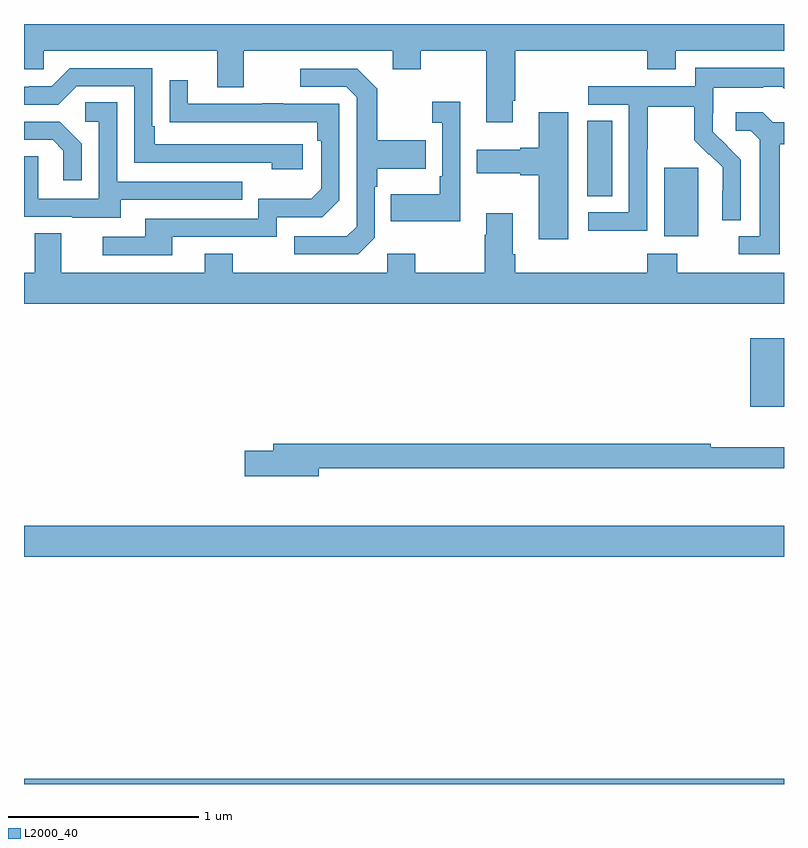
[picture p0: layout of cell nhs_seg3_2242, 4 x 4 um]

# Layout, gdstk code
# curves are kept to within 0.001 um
import gdstk
lib = gdstk.Library(unit=1e-6, precision=1e-09)
def R(c, l, rs):  # rectangles x0, y0, x1, y1
    for r in rs: c.add(gdstk.rectangle(r[:2], r[2:], *l))
def P(c, l, *ps):  # polygons
    for p in ps: c.add(gdstk.Polygon(p, *l))
L2000_40 = (2000, 40)

nhs_seg3_2242 = lib.new_cell('nhs_seg3_2242')
R(nhs_seg3_2242, L2000_40, [(227,686.4,231,686.428), (227,687.596,231,687.76), (230.822,688.386,231,688.747), (230.369,689.282,230.548,689.643), (229.964,689.494,230.095,689.891)])
P(nhs_seg3_2242, L2000_40, [(229.573,689.995),(229.586,689.995),(229.586,690.26),(230.279,690.26),(230.279,690.161),(230.431,690.161),(230.431,690.26),(231,690.26),(231,690.4),(227,690.4),(227,690.162),(227.103,690.162),(227.103,690.26),(228.017,690.26),(228.017,690.066),(228.157,690.066),(228.157,690.26),(228.941,690.26),(228.941,690.161),(229.089,690.161),(229.089,690.26),(229.433,690.26),(229.433,689.883),(229.573,689.883)],
  [(230.28,689.74),(230.283,689.74),(230.283,689.964),(230.527,689.964),(230.527,689.789),(230.604,689.712),(230.607,689.715),(230.678,689.645),(230.678,689.522),(230.676,689.522),(230.676,689.368),(230.772,689.368),(230.772,689.686),(230.626,689.834),(230.626,689.931),(230.628,689.931),(230.628,690.065),(230.891,690.065),(230.891,690.069),(230.991,690.069),(231,690.06),(231,690.169),(230.532,690.169),(230.532,690.072),(229.971,690.072),(229.971,689.976),(230.184,689.976),(230.184,689.409),(229.971,689.409),(229.971,689.311),(230.28,689.311)],
  [(228.466,689.766),(227.689,689.766),(227.689,689.863),(227.676,689.863),(227.676,690.168),(227.241,690.168),(227.145,690.072),(227.027,690.072),(227.027,690.069),(227,690.069),(227,689.976),(227.181,689.976),(227.277,690.072),(227.58,690.072),(227.58,689.67),(228.305,689.67),(228.305,689.636),(228.466,689.636)],
  [(228.846,689.274),(228.846,689.543),(228.859,689.543),(228.859,689.639),(229.115,689.639),(229.115,689.787),(228.859,689.787),(228.859,690.059),(228.753,690.165),(228.453,690.165),(228.453,690.069),(228.696,690.069),(228.75,690.015),(228.75,689.334),(228.699,689.283),(228.423,689.283),(228.423,689.187),(228.759,689.187)],
  [(227.779,689.28),(228.33,689.28),(228.33,689.382),(228.57,689.382),(228.66,689.472),(228.66,689.979),(228.365,689.979),(228.365,689.984),(228.253,689.984),(228.253,689.979),(227.863,689.979),(227.863,690.103),(227.767,690.103),(227.767,689.884),(228.544,689.883),(228.544,689.786),(228.564,689.786),(228.564,689.532),(228.511,689.479),(228.234,689.479),(228.234,689.376),(227.639,689.376),(227.639,689.28),(227.415,689.28),(227.415,689.184),(227.779,689.184)],
  [(229.296,689.992),(229.149,689.992),(229.149,689.879),(229.2,689.879),(229.2,689.599),(229.188,689.599),(229.188,689.503),(228.931,689.503),(228.931,689.363),(229.296,689.363)],
  [(227.509,689.475),(228.149,689.475),(228.149,689.571),(227.49,689.571),(227.49,689.987),(227.322,689.987),(227.322,689.886),(227.394,689.886),(227.394,689.481),(227.076,689.481),(227.076,689.705),(227,689.705),(227,689.385),(227.255,689.385),(227.255,689.381),(227.509,689.381)],
  [(229.864,689.935),(229.709,689.935),(229.709,689.75),(229.613,689.75),(229.613,689.737),(229.383,689.737),(229.383,689.615),(229.613,689.615),(229.613,689.603),(229.709,689.603),(229.709,689.268),(229.864,689.268)],
  [(230.977,689.768),(231,689.768),(231,689.883),(230.94,689.883),(230.888,689.935),(230.745,689.935),(230.745,689.838),(230.826,689.838),(230.873,689.791),(230.873,689.283),(230.763,689.283),(230.763,689.187),(230.977,689.187)],
  [(227.304,689.77),(227.188,689.886),(227,689.886),(227,689.79),(227.15,689.79),(227.207,689.733),(227.207,689.577),(227.304,689.577)],
  [(231,689.092),(230.439,689.092),(230.439,689.191),(230.279,689.191),(230.279,689.092),(229.586,689.092),(229.586,689.188),(229.573,689.188),(229.573,689.404),(229.433,689.404),(229.433,689.291),(229.426,689.291),(229.426,689.092),(229.059,689.092),(229.059,689.191),(228.912,689.191),(228.912,689.092),(228.099,689.092),(228.099,689.191),(227.951,689.191),(227.951,689.092),(227.197,689.092),(227.197,689.3),(227.057,689.3),(227.057,689.092),(227,689.092),(227,688.928),(231,688.928)],
  [(228.55,688.062),(231,688.062),(231,688.172),(230.615,688.172),(230.615,688.19),(228.311,688.19),(228.311,688.154),(228.162,688.154),(228.162,688.019),(228.55,688.019)])

lib.write_gds('nhs_seg3_2242.gds')
